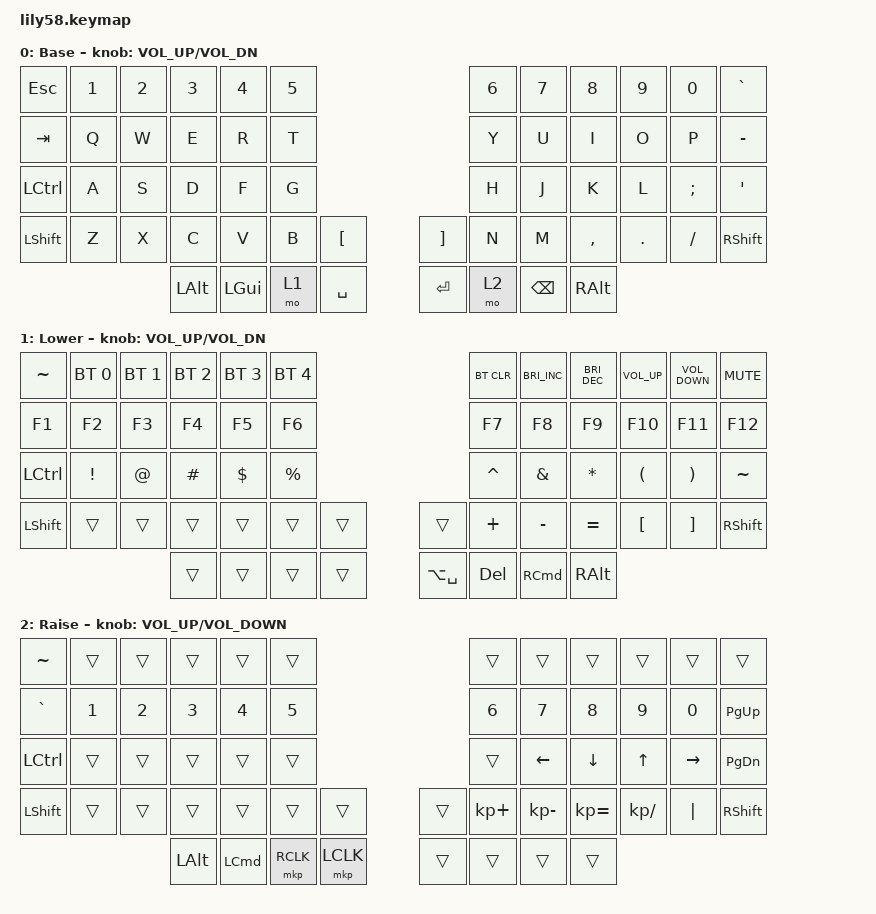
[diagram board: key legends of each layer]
/*
 * Copyright (c) 2020 The ZMK Contributors
 *
 * SPDX-License-Identifier: MIT
 */

#include <dt-bindings/zmk/mouse.h>
#include <behaviors.dtsi>
#include <dt-bindings/zmk/bt.h>
#include <dt-bindings/zmk/keys.h>
#include <dt-bindings/zmk/pointing.h>

/ {
    keymap {
        compatible = "zmk,keymap";

        main {
            // ------------------------------------------------------------------------------------------------------------
            // |  ESC  |  1  |  2  |  3   |  4   |  5   |                   |  6   |  7    |  8    |  9   |   0   |   `   |
            // |  TAB  |  Q  |  W  |  E   |  R   |  T   |                   |  Y   |  U    |  I    |  O   |   P   |   -   |
            // |  CTRL |  A  |  S  |  D   |  F   |  G   |                   |  H   |  J    |  K    |  L   |   ;   |   '   |
            // | SHIFT |  Z  |  X  |  C   |  V   |  B   |   "["  |  |  "]"  |  N   |  M    |  ,    |  .   |   /   | SHIFT |
            //                     | ALT  | GUI  | LOWER|  SPACE |  | ENTER | RAISE| BSPC  | GUI   |

            display-name = "Base";
            bindings = <
&kp ESC    &kp N1  &kp N2  &kp N3    &kp N4    &kp N5                                         &kp N6  &kp N7         &kp N8         &kp N9   &kp N0    &kp GRAVE
&kp TAB    &kp Q   &kp W   &kp E     &kp R     &kp T                                          &kp Y   &kp U          &kp I          &kp O    &kp P     &kp MINUS
&kp LCTRL  &kp A   &kp S   &kp D     &kp F     &kp G                                          &kp H   &kp J          &kp K          &kp L    &kp SEMI  &kp SQT
&kp LSHFT  &kp Z   &kp X   &kp C     &kp V     &kp B   &kp LEFT_BRACKET    &kp RIGHT_BRACKET  &kp N   &kp M          &kp COMMA      &kp DOT  &kp FSLH  &kp RSHFT
                           &kp LALT  &kp LGUI  &mo 1   &kp SPACE           &kp RET            &mo 2   &kp BACKSPACE  &kp RIGHT_ALT
            >;

            sensor-bindings = <&inc_dec_kp C_VOL_UP C_VOL_DN>;
        };

        lower_layer {
            // ------------------------------------------------------------------------------------------------------------
            // | BTCLR | BT1 | BT2 |  BT3 |  BT4 |  BT5 |                   |      |       |       |      |       |       |
            // |  F1   |  F2 |  F3 |  F4  |  F5  |  F6  |                   |  F7  |  F8   |  F9   |  F10 |  F11  |  F12  |
            // |   `   |  !  |  @  |  #   |  $   |  %   |                   |  ^   |  &    |  *    |  (   |   )   |   ~   |
            // |       |     |     |      |      |      |        |  |       |      |  _    |  +    |  {   |   }   |  "|"  |
            //                     |      |      |      |        |  |       |      |       |       |

            display-name = "Lower";
            bindings = <
&kp TILDE         &bt BT_SEL 0  &bt BT_SEL 1  &bt BT_SEL 2  &bt BT_SEL 3  &bt BT_SEL 4                           &bt BT_CLR  &kp C_BRIGHTNESS_INC  &kp C_BRIGHTNESS_DEC  &kp C_VOLUME_UP   &kp C_VOLUME_DOWN  &kp C_MUTE
&kp F1            &kp F2        &kp F3        &kp F4        &kp F5        &kp F6                                 &kp F7      &kp F8                &kp F9                &kp F10           &kp F11            &kp F12
&kp LEFT_CONTROL  &kp EXCL      &kp AT        &kp HASH      &kp DOLLAR    &kp PRCNT                              &kp CARET   &kp AMPS              &kp ASTERISK          &kp LPAR          &kp RPAR           &kp TILDE
&kp LEFT_SHIFT    &trans        &trans        &trans        &trans        &trans        &trans    &trans         &kp PLUS    &kp MINUS             &kp EQUAL             &kp LEFT_BRACKET  &kp RIGHT_BRACKET  &kp RIGHT_SHIFT
                                              &trans        &trans        &trans        &trans    &kp LA(SPACE)  &kp DELETE  &kp RIGHT_COMMAND     &kp RIGHT_ALT
            >;

            sensor-bindings = <&inc_dec_kp C_VOL_UP C_VOL_DN>;
        };

        raise_layer {
            // ------------------------------------------------------------------------------------------------------------
            // |       |     |     |      |      |      |                   |      |       |       |      |       |       |
            // |   `   |  1  |  2  |  3   |  4   |  5   |                   |  6   |   7   |   8   |  9   |   0   |       |
            // |   F1  |  F2 |  F3 |  F4  |  F5  |  F6  |                   |      |   <-  |   v   |  ^   |  ->   |       |
            // |   F7  |  F8 |  F9 |  F10 |  F11 |  F12 |        |  |       |  +   |   -   |   =   |  [   |   ]   |   \   |
            //                     |      |      |      |        |  |       |      |       |       |

            display-name = "Raise";
            bindings = <
&kp TILDE         &trans  &trans  &trans        &trans            &trans                          &trans       &trans        &trans        &trans         &trans     &trans
&kp GRAVE         &kp N1  &kp N2  &kp N3        &kp N4            &kp N5                          &kp N6       &kp N7        &kp N8        &kp N9         &kp N0     &kp PAGE_UP
&kp LEFT_CONTROL  &trans  &trans  &trans        &trans            &trans                          &trans       &kp LEFT      &kp DOWN      &kp UP         &kp RIGHT  &kp PAGE_DOWN
&kp LEFT_SHIFT    &trans  &trans  &trans        &trans            &trans     &trans       &trans  &kp KP_PLUS  &kp KP_MINUS  &kp KP_EQUAL  &kp KP_DIVIDE  &kp PIPE   &kp RIGHT_SHIFT
                                  &kp LEFT_ALT  &kp LEFT_COMMAND  &mkp RCLK  &mkp LCLK    &trans  &trans       &trans        &trans
            >;

            sensor-bindings = <&inc_dec_kp C_VOLUME_UP C_VOLUME_DOWN>;
        };
    };
};
